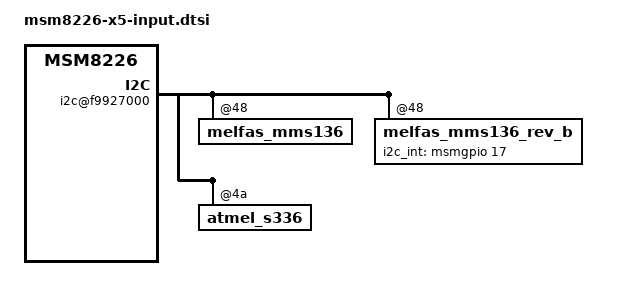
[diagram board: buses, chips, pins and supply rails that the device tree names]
/* Copyright (c) 2013, LGE Electronics. All rights reserved.
 *
 * This program is free software; you can redistribute it and/or modify
 * it under the terms of the GNU General Public License version 2 and
 * only version 2 as published by the Free Software Foundation.
 *
 * This program is distributed in the hope that it will be useful,
 * but WITHOUT ANY WARRANTY; without even the implied warranty of
 * MERCHANTABILITY or FITNESS FOR A PARTICULAR PURPOSE.  See the
 * GNU General Public License for more details.
 */

&soc {
	i2c@f9927000 { /* BLSP1 QUP5 */
		melfas_mms136@48 {
			melfas,product = "S2A47A";
			melfas,fw-image-name = "melfas/x5_vzw/x5_vzw_rev_0_v102.mfsb";
			melfas,panel-spec-name = "melfas/x5_vzw/x5_vzw_limit.txt";
			revision = "...rev_a";
			melfas,button-map = <158 139>;
			status = "ok";
		};

		melfas_mms136_rev_b@48 {
			melfas,product = "S2A47A";
			melfas,fw-image-name = "melfas/x5_vzw/x5_vzw_rev_0_v102.mfsb";
			melfas,panel-spec-name = "melfas/x5_vzw/x5_vzw_limit.txt";
			melfas,i2c_int_gpio = <&msmgpio 17 0x00>;
			interrupts = <17 0x0>;
			vdd-supply = <0>;
			melfas,ce = <60>;
			melfas,button-map = <158 139>;
			revision = "rev_b";
			status ="ok";
		};

		lge_touch@48 {
			lge,product = "S2A47A";
			lge,fw_image = "melfas/x5_vzw/x5_vzw_rev_0_v102.mfsb";
			lge,panel_spec = "melfas/x5_vzw/x5_vzw_limit.txt";
			revision = "rev_0...rev_b";
			status = "disable";
		};

		atmel_s336@4a {
			revision = "rev_c...";
			status = "ok";
			atmel,t15_key_array = <0 12 1 12>;
			atmel,fw_name = "atmel/S2A47P1_2_07.fw";
			atmel,panel_check = <0>;
			atmel,ghost_detection_enable = <1>;
			atmel,butt_check_enable = <1>;
		};

		lge_ts_misc {
			revision = "rev_b";
			vdd_on = <1>;
			vio_l19_on = <1>;
			vio_lvs1_on = <1>;
			irq_wake = <0>;
			status ="ok";
		};
	};
};
